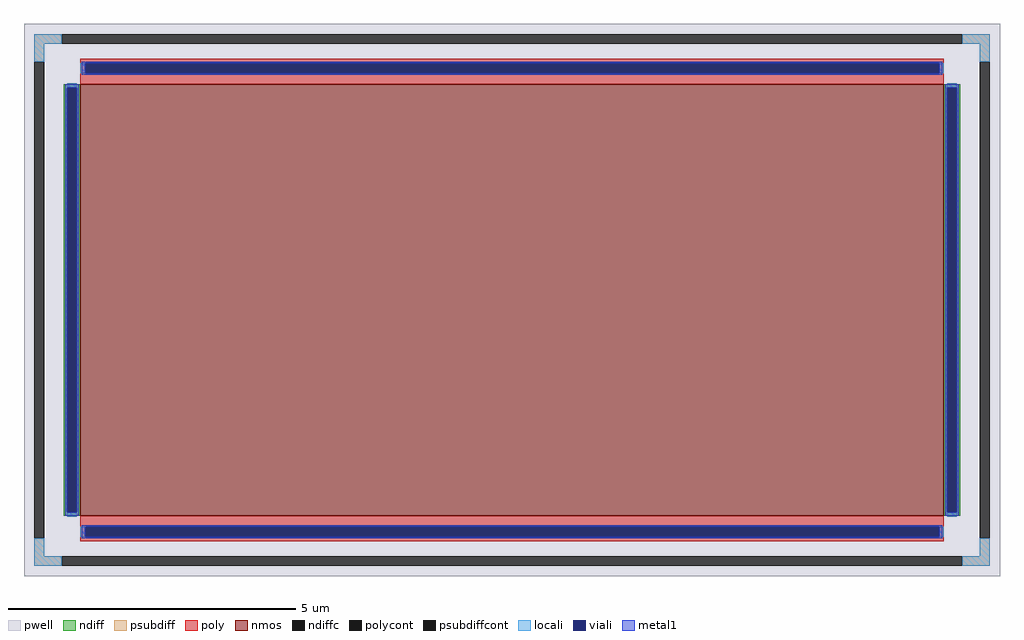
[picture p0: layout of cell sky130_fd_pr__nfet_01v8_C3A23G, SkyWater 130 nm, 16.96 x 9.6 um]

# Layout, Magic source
magic
tech sky130A
<< pwell >>
rect -848 -480 848 480
<< nmos >>
rect -750 -375 750 375
<< ndiff >>
rect -779 369 -750 375
rect -779 -369 -773 369
rect -756 -369 -750 369
rect -779 -375 -750 -369
rect 750 369 779 375
rect 750 -369 756 369
rect 773 -369 779 369
rect 750 -375 779 -369
<< ndiffc >>
rect -773 -369 -756 369
rect 756 -369 773 369
<< psubdiff >>
rect -830 445 -782 462
rect 782 445 830 462
rect -830 414 -813 445
rect 813 414 830 445
rect -830 -445 -813 -414
rect 813 -445 830 -414
rect -830 -462 -782 -445
rect 782 -462 830 -445
<< psubdiffcont >>
rect -782 445 782 462
rect -830 -414 -813 414
rect 813 -414 830 414
rect -782 -462 782 -445
<< poly >>
rect -750 411 750 419
rect -750 394 -742 411
rect 742 394 750 411
rect -750 375 750 394
rect -750 -394 750 -375
rect -750 -411 -742 -394
rect 742 -411 750 -394
rect -750 -419 750 -411
<< polycont >>
rect -742 394 742 411
rect -742 -411 742 -394
<< locali >>
rect -830 445 -782 462
rect 782 445 830 462
rect -830 414 -813 445
rect 813 414 830 445
rect -750 394 -742 411
rect 742 394 750 411
rect -773 369 -756 377
rect -773 -377 -756 -369
rect 756 369 773 377
rect 756 -377 773 -369
rect -750 -411 -742 -394
rect 742 -411 750 -394
rect -830 -445 -813 -414
rect 813 -445 830 -414
rect -830 -462 -782 -445
rect 782 -462 830 -445
<< viali >>
rect -742 394 742 411
rect -773 -369 -756 369
rect 756 -369 773 369
rect -742 -411 742 -394
<< metal1 >>
rect -748 411 748 414
rect -748 394 -742 411
rect 742 394 748 411
rect -748 391 748 394
rect -776 369 -753 375
rect -776 -369 -773 369
rect -756 -369 -753 369
rect -776 -375 -753 -369
rect 753 369 776 375
rect 753 -369 756 369
rect 773 -369 776 369
rect 753 -375 776 -369
rect -748 -394 748 -391
rect -748 -411 -742 -394
rect 742 -411 748 -394
rect -748 -414 748 -411
<< properties >>
string FIXED_BBOX -821 -453 821 453
string gencell sky130_fd_pr__nfet_01v8
string library sky130
string parameters w 7.5 l 15 m 1 nf 1 diffcov 100 polycov 100 guard 1 glc 1 grc 1 gtc 1 gbc 1 tbcov 100 rlcov 100 topc 1 botc 1 poverlap 0 doverlap 1 lmin 0.15 wmin 0.42 compatible {sky130_fd_pr__nfet_01v8 sky130_fd_pr__nfet_01v8_lvt  sky130_fd_bs_flash__special_sonosfet_star  sky130_fd_pr__nfet_g5v0d10v5 sky130_fd_pr__nfet_05v0_nvt  sky130_fd_pr__nfet_03v3_nvt} full_metal 1 viasrc 100 viadrn 100 viagate 100 viagb 0 viagr 0 viagl 0 viagt 0
<< end >>
